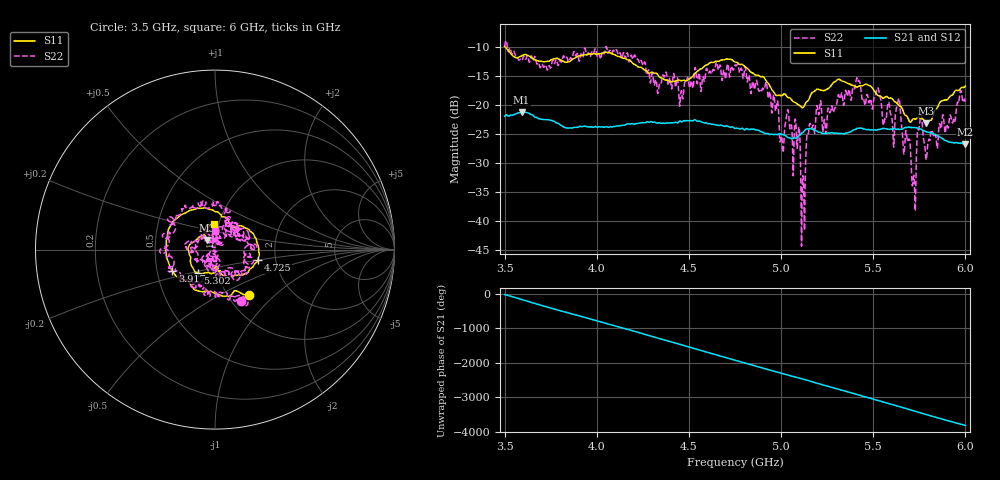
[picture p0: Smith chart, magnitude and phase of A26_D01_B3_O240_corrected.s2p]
! Created with skrf 1.9.0 (http://scikit-rf.org).
# Hz S RI R 50.0
!freq ReS11 ImS11 ReS21 ImS21 ReS12 ImS12 ReS22 ImS22
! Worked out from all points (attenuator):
!   1601 points, 3.5 GHz to 6 GHz, reference 50 ohm
!   highest |S21| = -21.24 dB at 3.592 GHz (marker M1); lowest = -26.8 dB at 6 GHz (marker M2)
!   lowest |S11| = -23.2 dB at 5.787 GHz (marker M3), VSWR 1.15, Z = 45.5 + j4.85 ohm
!   |S11| at or under -10 dB: 3.501 GHz to end of sweep
!   |S22| runs from -44.3 to -8.9 dB; largest |S21 - S12| = 0.0012
!   S11 on the Smith chart (normalised r, x): 3.5 GHz: 1.25, -0.70; 3.917 GHz: 0.60, -0.15; 4.725 GHz: 1.61, -0.20; 5.302 GHz: 0.80, -0.21; 6 GHz: 0.95, +0.28
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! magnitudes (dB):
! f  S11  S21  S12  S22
! 3.5 GHz  -10.0  -22.0  -22.0  -9.9
! 3.592 GHz  -11.6  -21.2  -21.3  -12.4
! 3.917 GHz  -11.5  -23.8  -23.8  -11.3
! 4.213 GHz  -13.2  -23.2  -23.3  -12.0
! 4.334 GHz  -15.0  -23.1  -23.1  -17.6
! 4.725 GHz  -12.2  -23.9  -23.8  -14.4
! 4.75 GHz  -12.6  -24.0  -24.0  -13.2
! 4.97 GHz  -18.3  -25.1  -25.0  -21.1
! 5.003 GHz  -18.4  -25.1  -25.1  -25.6
! 5.033 GHz  -18.6  -25.5  -25.5  -21.2
! 5.088 GHz  -19.9  -25.6  -25.6  -27.5
! 5.119 GHz  -20.5  -24.7  -24.7  -32.2
! 5.147 GHz  -19.2  -24.1  -24.1  -25.0
! 5.167 GHz  -17.9  -24.2  -24.2  -24.0
! 5.302 GHz  -15.8  -24.9  -24.9  -19.9
! 5.417 GHz  -16.9  -24.0  -24.1  -15.9
! 5.584 GHz  -18.8  -24.2  -24.2  -19.5
! 5.639 GHz  -20.1  -24.2  -24.2  -18.9
! 5.719 GHz  -22.4  -23.9  -23.9  -32.4
! 5.752 GHz  -22.2  -24.1  -24.1  -23.1
! 5.787 GHz  -23.2  -24.6  -24.6  -29.5
! 6 GHz  -16.8  -26.8  -26.7  -19.7
